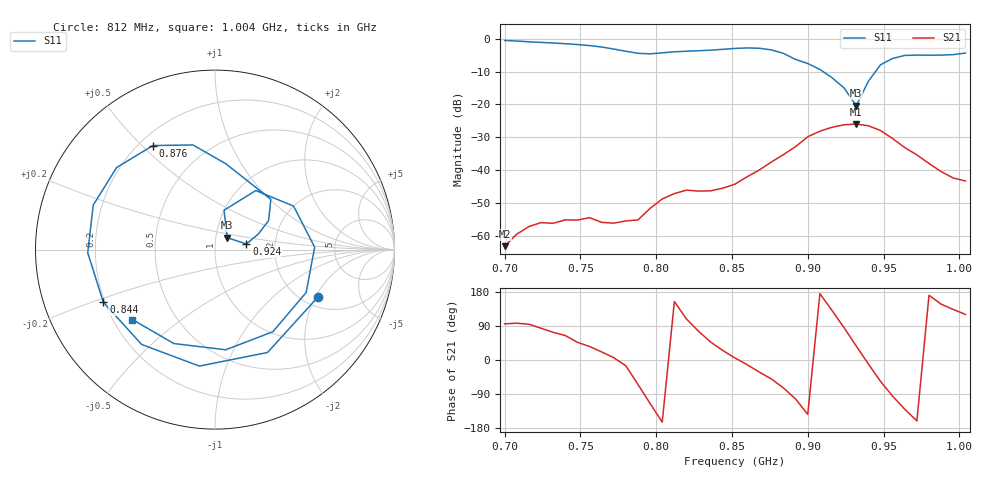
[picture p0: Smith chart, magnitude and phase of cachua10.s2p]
# Hz S RI R 50
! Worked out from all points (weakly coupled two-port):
!   39 points, 700 MHz to 1.004 GHz, reference 50 ohm
!   highest |S21| = -25.96 dB at 932 MHz (marker M1); lowest = -63.1 dB at 700 MHz (marker M2)
!   lowest |S11| = -20.4 dB at 932 MHz (marker M3), VSWR 1.21, Z = 56.7 + j7.63 ohm
!   |S11| at or under -10 dB: 910 MHz to 944.7 MHz (34.72 MHz wide, 3.74 % of centre)
!   S12 and S22 are empty: the file has one direction only
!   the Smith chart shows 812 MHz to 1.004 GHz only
!   S11 on the Smith chart (normalised r, x): 812 MHz: 2.37, -2.10; 844 MHz: 0.19, -0.22; 876 MHz: 0.25, +0.54; 924 MHz: 1.42, +0.09; 1.004 GHz: 0.28, -0.34
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7e8  0.7556 0.5558  -6.64e-05 0.000696  0 0  0 0
7.24e8  0.8391 -0.2489  0.000171 0.00159  0 0  0 0
7.4e8  0.4569 -0.7018  0.000754 0.00158  0 0  0 0
7.56e8  -0.1913 -0.7601  0.00154 0.00111  0 0  0 0
7.72e8  -0.6628 -0.2059  0.00156 0.000166  0 0  0 0
7.8e8  -0.6032 0.22  0.00163 -0.000446  0 0  0 0
7.88e8  -0.2625 0.5373  0.000754 -0.00158  0 0  0 0
7.96e8  0.2326 0.5393  -0.00111 -0.00238  0 0  0 0
8.04e8  0.5754 0.1954  -0.00351 -0.00101  0 0  0 0
8.12e8  0.5721 -0.2658  -0.00397 0.00193  0 0  0 0
8.28e8  -0.087 -0.6489  0.00119 0.00466  0 0  0 0
8.44e8  -0.622 -0.2933  0.00483 0.00225  0 0  0 0
8.52e8  -0.709 -0.0178  0.00611 0.000564  0 0  0 0
8.76e8  -0.3455 0.5797  0.00854 -0.0102  0 0  0 0
9e8  0.311 0.2804  -0.0258 -0.0192  0 0  0 0
9.08e8  0.2988 0.1622  -0.039 0.00344  0 0  0 0
9.24e8  0.1747 0.0313  0.00436 0.0488  0 0  0 0
9.32e8  0.068 0.0666  0.0403 0.0302  0 0  0 0
9.56e8  0.4378 0.2424  -0.00295 -0.0301  0 0  0 0
9.64e8  0.5553 0.0136  -0.0141 -0.0169  0 0  0 0
9.8e8  0.3223 -0.4577  -0.0125 0.00203  0 0  0 0
1.004e9  -0.4597 -0.3896  -0.00346 0.0059  0 0  0 0
